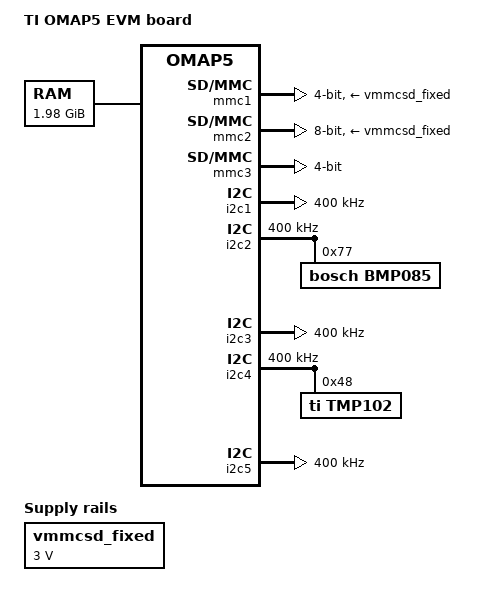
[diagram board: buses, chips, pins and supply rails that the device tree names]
/*
 * Copyright (C) 2012 Texas Instruments Incorporated - http://www.ti.com/
 *
 * This program is free software; you can redistribute it and/or modify
 * it under the terms of the GNU General Public License version 2 as
 * published by the Free Software Foundation.
 */
/dts-v1/;

#include "omap5.dtsi"
#include "samsung_k3pe0e000b.dtsi"

/ {
	model = "TI OMAP5 EVM board";
	compatible = "ti,omap5-evm", "ti,omap5";

	memory {
		device_type = "memory";
		reg = <0x80000000 0x7F000000>; /* 2032 MB */
	};

	vmmcsd_fixed: fixedregulator-mmcsd {
		compatible = "regulator-fixed";
		regulator-name = "vmmcsd_fixed";
		regulator-min-microvolt = <3000000>;
		regulator-max-microvolt = <3000000>;
	};

};

&omap5_pmx_core {
	pinctrl-names = "default";
	pinctrl-0 = <
			&twl6040_pins
			&mcpdm_pins
			&dmic_pins
			&mcbsp1_pins
			&mcbsp2_pins
	>;

	twl6040_pins: pinmux_twl6040_pins {
		pinctrl-single,pins = <
			0x18a (PIN_OUTPUT | MUX_MODE6)	/* perslimbus2_clock.gpio5_145 */
		>;
	};

	mcpdm_pins: pinmux_mcpdm_pins {
		pinctrl-single,pins = <
			0x142 (PIN_INPUT_PULLDOWN | MUX_MODE0)	/* abe_clks.abe_clks */
			0x15c (PIN_INPUT_PULLDOWN | MUX_MODE0)	/* abemcpdm_ul_data.abemcpdm_ul_data */
			0x15e (PIN_INPUT_PULLDOWN | MUX_MODE0)	/* abemcpdm_dl_data.abemcpdm_dl_data */
			0x160 (PIN_INPUT_PULLUP | MUX_MODE0)	/* abemcpdm_frame.abemcpdm_frame */
			0x162 (PIN_INPUT_PULLDOWN | MUX_MODE0)	/* abemcpdm_lb_clk.abemcpdm_lb_clk */
		>;
	};

	dmic_pins: pinmux_dmic_pins {
		pinctrl-single,pins = <
			0x144 (PIN_INPUT | MUX_MODE0)		/* abedmic_din1.abedmic_din1 */
			0x146 (PIN_INPUT | MUX_MODE0)		/* abedmic_din2.abedmic_din2 */
			0x148 (PIN_INPUT | MUX_MODE0)		/* abedmic_din3.abedmic_din3 */
			0x14a (PIN_OUTPUT | MUX_MODE0)		/* abedmic_clk1.abedmic_clk1 */
		>;
	};

	mcbsp1_pins: pinmux_mcbsp1_pins {
		pinctrl-single,pins = <
			0x14c (PIN_INPUT | MUX_MODE1)		/* abedmic_clk2.abemcbsp1_fsx */
			0x14e (PIN_OUTPUT_PULLDOWN | MUX_MODE1)	/* abedmic_clk3.abemcbsp1_dx */
			0x150 (PIN_INPUT | MUX_MODE1)		/* abeslimbus1_clock.abemcbsp1_clkx */
			0x152 (PIN_INPUT_PULLDOWN | MUX_MODE1)	/* abeslimbus1_data.abemcbsp1_dr */
		>;
	};

	mcbsp2_pins: pinmux_mcbsp2_pins {
		pinctrl-single,pins = <
			0x154 (PIN_INPUT_PULLDOWN | MUX_MODE0)	/* abemcbsp2_dr.abemcbsp2_dr */
			0x156 (PIN_OUTPUT_PULLDOWN | MUX_MODE0)	/* abemcbsp2_dx.abemcbsp2_dx */
			0x158 (PIN_INPUT | MUX_MODE0)		/* abemcbsp2_fsx.abemcbsp2_fsx */
			0x15a (PIN_INPUT | MUX_MODE0)		/* abemcbsp2_clkx.abemcbsp2_clkx */
		>;
	};

	i2c1_pins: pinmux_i2c1_pins {
		pinctrl-single,pins = <
			0x1b2 (PIN_INPUT_PULLUP | MUX_MODE0)	/* i2c1_scl */
			0x1b4 (PIN_INPUT_PULLUP | MUX_MODE0)	/* i2c1_sda */
		>;
	};

	i2c2_pins: pinmux_i2c2_pins {
		pinctrl-single,pins = <
			0x178 (PIN_INPUT | MUX_MODE0)		/* i2c2_scl */
			0x17a (PIN_INPUT | MUX_MODE0)		/* i2c2_sda */
		>;
	};

	i2c3_pins: pinmux_i2c3_pins {
		pinctrl-single,pins = <
			0x13a (PIN_INPUT | MUX_MODE0)		/* i2c3_scl */
			0x13c (PIN_INPUT | MUX_MODE0)		/* i2c3_sda */
		>;
	};

	i2c4_pins: pinmux_i2c4_pins {
		pinctrl-single,pins = <
			0xb8 (PIN_INPUT | MUX_MODE0)		/* i2c4_scl */
			0xba (PIN_INPUT | MUX_MODE0)		/* i2c4_sda */
		>;
	};

	i2c5_pins: pinmux_i2c5_pins {
		pinctrl-single,pins = <
			0x184 (PIN_INPUT | MUX_MODE0)		/* i2c5_scl */
			0x186 (PIN_INPUT | MUX_MODE0)		/* i2c5_sda */
		>;
	};

	mcspi2_pins: pinmux_mcspi2_pins {
		pinctrl-single,pins = <
			0xbc (PIN_INPUT | MUX_MODE0)		/*  mcspi2_clk */
			0xbe (PIN_INPUT | MUX_MODE0)		/*  mcspi2_simo */
			0xc0 (PIN_INPUT_PULLUP | MUX_MODE0)	/*  mcspi2_somi */
			0xc2 (PIN_OUTPUT | MUX_MODE0)		/*  mcspi2_cs */
		>;
	};

	mcspi3_pins: pinmux_mcspi3_pins {
		pinctrl-single,pins = <
			0x78 (PIN_INPUT | MUX_MODE1)		/*  mcspi2_somi */
			0x7a (PIN_INPUT | MUX_MODE1)		/*  mcspi2_cs */
			0x7c (PIN_INPUT | MUX_MODE1)		/*  mcspi2_simo */
			0x7e (PIN_INPUT | MUX_MODE1)		/*  mcspi2_clk */
		>;
	};

	mcspi4_pins: pinmux_mcspi4_pins {
		pinctrl-single,pins = <
			0x164 (PIN_INPUT | MUX_MODE1)		/*  mcspi2_clk */
			0x168 (PIN_INPUT | MUX_MODE1)		/*  mcspi2_simo */
			0x16a (PIN_INPUT | MUX_MODE1)		/*  mcspi2_somi */
			0x16c (PIN_INPUT | MUX_MODE1)		/*  mcspi2_cs */
		>;
	};
};

&mmc1 {
	vmmc-supply = <&vmmcsd_fixed>;
	bus-width = <4>;
};

&mmc2 {
	vmmc-supply = <&vmmcsd_fixed>;
	bus-width = <8>;
	ti,non-removable;
};

&mmc3 {
	bus-width = <4>;
	ti,non-removable;
};

&mmc4 {
	status = "disabled";
};

&mmc5 {
	status = "disabled";
};

&i2c1 {
	pinctrl-names = "default";
	pinctrl-0 = <&i2c1_pins>;

	clock-frequency = <400000>;
};

&i2c2 {
	pinctrl-names = "default";
	pinctrl-0 = <&i2c2_pins>;

	clock-frequency = <400000>;

	/* Pressure Sensor */
	bmp085@77 {
		compatible = "bosch,bmp085";
		reg = <0x77>;
	};
};

&i2c3 {
	pinctrl-names = "default";
	pinctrl-0 = <&i2c3_pins>;

	clock-frequency = <400000>;
};

&i2c4 {
	pinctrl-names = "default";
	pinctrl-0 = <&i2c4_pins>;

	clock-frequency = <400000>;

	/* Temperature Sensor */
	tmp102@48{
		compatible = "ti,tmp102";
		reg = <0x48>;
	};
};

&i2c5 {
	pinctrl-names = "default";
	pinctrl-0 = <&i2c5_pins>;

	clock-frequency = <400000>;
};

&keypad {
	keypad,num-rows = <8>;
	keypad,num-columns = <8>;
	linux,keymap = <0x02020073	/* VOLUP */
			0x02030072	/* VOLDOWM */
			0x020400e7	/* SEND */
			0x02050066	/* HOME */
			0x0206006b	/* END */
			0x020700d9>;	/* SEARCH */
	linux,input-no-autorepeat;
};

&mcbsp3 {
	status = "disabled";
};

&emif1 {
	cs1-used;
	device-handle = <&samsung_K3PE0E000B>;
};

&emif2 {
	cs1-used;
	device-handle = <&samsung_K3PE0E000B>;
};

&mcspi1 {

};

&mcspi2 {
	pinctrl-names = "default";
	pinctrl-0 = <&mcspi2_pins>;
};

&mcspi3 {
	pinctrl-names = "default";
	pinctrl-0 = <&mcspi3_pins>;
};

&mcspi4 {
	pinctrl-names = "default";
	pinctrl-0 = <&mcspi4_pins>;
};
